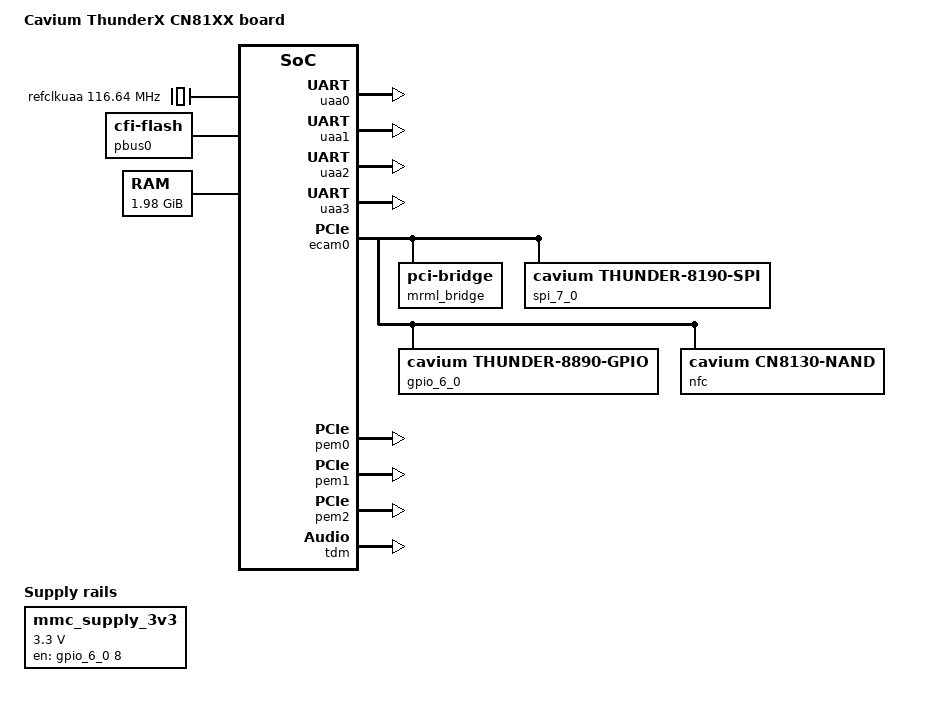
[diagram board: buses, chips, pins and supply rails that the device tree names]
/*
 * Cavium Thunder DTS file - Thunder SoC description
 *
 * Copyright (C) 2016, Cavium Inc.
 *
 * This file is dual-licensed: you can use it either under the terms
 * of the GPL or the X11 license, at your option. Note that this dual
 * licensing only applies to this file, and not this project as a
 * whole.
 *
 * a) This program is free software; you can redistribute it and/or modify
 *    it under the terms of the GNU General Public License as published by
 *    the Free Software Foundation; version 2 of the License.
 *
 *    This program is distributed in the hope that it will be useful,
 *    but WITHOUT ANY WARRANTY; without even the implied warranty of
 *    MERCHANTABILITY or FITNESS FOR A PARTICULAR PURPOSE.  See the
 *    GNU General Public License for more details.
 *
 * Or, alternatively,
 *
 *  b) Permission is hereby granted, free of charge, to any person
 *     obtaining a copy of this software and associated documentation
 *     files (the "Software"), to deal in the Software without
 *     restriction, including without limitation the rights to use,
 *     copy, modify, merge, publish, distribute, sublicense, and/or
 *     sell copies of the Software, and to permit persons to whom the
 *     Software is furnished to do so, subject to the following
 *     conditions:
 *
 *     The above copyright notice and this permission notice shall be
 *     included in all copies or substantial portions of the Software.
 *
 *     THE SOFTWARE IS PROVIDED "AS IS", WITHOUT WARRANTY OF ANY KIND,
 *     EXPRESS OR IMPLIED, INCLUDING BUT NOT LIMITED TO THE WARRANTIES
 *     OF MERCHANTABILITY, FITNESS FOR A PARTICULAR PURPOSE AND
 *     NONINFRINGEMENT. IN NO EVENT SHALL THE AUTHORS OR COPYRIGHT
 *     HOLDERS BE LIABLE FOR ANY CLAIM, DAMAGES OR OTHER LIABILITY,
 *     WHETHER IN AN ACTION OF CONTRACT, TORT OR OTHERWISE, ARISING
 *     FROM, OUT OF OR IN CONNECTION WITH THE SOFTWARE OR THE USE OR
 *     OTHER DEALINGS IN THE SOFTWARE.
 */

/ {
	model = "Cavium ThunderX CN81XX board";
	compatible = "cavium,thunder-81xx";
	interrupt-parent = <&gic0>;
	#address-cells = <2>;
	#size-cells = <2>;

	psci {
		compatible = "arm,psci-0.2";
		method = "smc";
	};

	cpus {
		#address-cells = <2>;
		#size-cells = <0>;

		cpu-map {
			cluster0 {
				core0 {
					cpu = <&CPU0>;
				};
				core1 {
					cpu = <&CPU1>;
				};
				core2 {
					cpu = <&CPU2>;
				};
				core3 {
					cpu = <&CPU3>;
				};
			};
		};

		CPU0: cpu@0 {
			device_type = "cpu";
			compatible = "cavium,thunder", "arm,armv8";
			reg = <0x0 0x000>;
			enable-method = "psci";
			/* socket 0 */
			numa-node-id = <0>;
			next-level-cache = <&thunderx_L2_0>;
		};
		CPU1: cpu@1 {
			device_type = "cpu";
			compatible = "cavium,thunder", "arm,armv8";
			reg = <0x0 0x001>;
			enable-method = "psci";
			numa-node-id = <0>;
			next-level-cache = <&thunderx_L2_0>;
		};
		CPU2: cpu@2 {
			device_type = "cpu";
			compatible = "cavium,thunder", "arm,armv8";
			reg = <0x0 0x002>;
			enable-method = "psci";
			numa-node-id = <0>;
			next-level-cache = <&thunderx_L2_0>;
		};
		CPU3: cpu@3 {
			device_type = "cpu";
			compatible = "cavium,thunder", "arm,armv8";
			reg = <0x0 0x003>;
			enable-method = "psci";
			numa-node-id = <0>;
			next-level-cache = <&thunderx_L2_0>;
		};
	};

	thunderx_L2_0: l2-cache0 {
		compatible = "cache";
		numa-node-id = <0>;
	};

	timer {
		compatible = "arm,armv8-timer";
		interrupts = <1 13 4>,
			     <1 14 4>,
			     <1 11 4>,
			     <1 10 4>;
	};

	pmu {
		compatible = "cavium,thunder-pmu", "arm,armv8-pmuv3";
		interrupts = <1 7 4>;
	};

	mmc_supply_3v3: mmc_supply_3v3 {
		compatible = "regulator-fixed";
		regulator-name = "mmc_supply_3v3";
		regulator-min-microvolt = <3300000>;
		regulator-max-microvolt = <3300000>;

		gpio = <&gpio_6_0 8 0>;
		enable-active-high;
	};

	gic0: interrupt-controller@801000000000 {
		compatible = "arm,gic-v3";
		#interrupt-cells = <3>;
		#address-cells = <2>;
		#size-cells = <2>;
		#redistributor-regions = <1>;
		ranges;
		interrupt-controller;
		reg = <0x8010 0x00000000 0x0 0x010000>, /* GICD */
		      <0x8010 0x80000000 0x0 0x600000>; /* GICR */
		interrupts = <1 9 4>;

		its: gic-its@801000020000 {
			compatible = "arm,gic-v3-its";
			reg = <0x8010 0x20000 0x0 0x200000>;
			msi-controller;
			numa-node-id = <0>;
		};
	};

	soc@0 {
		compatible = "simple-bus";
		#address-cells = <2>;
		#size-cells = <2>;
		ranges;
		numa-node-id = <0>;

		refclkuaa: refclkuaa {
			compatible = "fixed-clock";
			#clock-cells = <0>;
			clock-frequency = <116640000>;
			clock-output-names = "refclkuaa";
		};

		sclk: sclk {
			compatible = "fixed-clock";
			#clock-cells = <0>;
			clock-frequency = <800000000>;
			clock-output-names = "sclk";
		};

		uaa0: serial@87e028000000 {
			compatible = "arm,pl011", "arm,primecell";
			reg = <0x87e0 0x28000000 0x0 0x1000>;
			interrupts = <0 5 4>;
			clocks = <&refclkuaa>;
			clock-names = "apb_pclk";
			skip-init;
		};

		uaa1: serial@87e029000000 {
			compatible = "arm,pl011", "arm,primecell";
			reg = <0x87e0 0x29000000 0x0 0x1000>;
			interrupts = <0 6 4>;
			clocks = <&refclkuaa>;
			clock-names = "apb_pclk";
			skip-init;
		};

		uaa2: serial@87e02a000000 {
			compatible = "arm,pl011", "arm,primecell";
			reg = <0x87e0 0x2a000000 0x0 0x1000>;
			interrupts = <0 7 4>;
			clocks = <&refclkuaa>;
			clock-names = "apb_pclk";
			skip-init;
		};

		uaa3: serial@87e02b000000 {
			compatible = "arm,pl011", "arm,primecell";
			reg = <0x87e0 0x2b000000 0x0 0x1000>;
			interrupts = <0 8 4>;
			clocks = <&refclkuaa>;
			clock-names = "apb_pclk";
			skip-init;
		};

		watch-dog@8440000a0000 {
			compatible = "arm,sbsa-gwdt";
			reg = <0x8440 0xa0000 0x0 0x1000>, <0x8440 0xb0000 0x0 0x1000>;
			interrupts = <0 9 4>;
		};

		pbus0: nor@0 {
			compatible = "cfi-flash";
			reg = <0x8000 0x0 0x0 0x800000>;
			device-width = <1>;
			bank-width = <1>;
			clocks = <&sclk>;
		};

		smmu0@830000000000 {
			compatible = "cavium,smmu-v2";
			reg = <0x8300 0x0 0x0 0x2000000>;
			#global-interrupts = <1>;
			interrupts = <0 68 4>, <0 69 4>, <0 69 4>, <0 69 4>, <0 69 4>, <0 69 4>,
				     <0 69 4>, <0 69 4>, <0 69 4>, <0 69 4>, <0 69 4>, <0 69 4>,
				     <0 69 4>, <0 69 4>, <0 69 4>, <0 69 4>, <0 69 4>, <0 69 4>,
				     <0 69 4>, <0 69 4>, <0 69 4>, <0 69 4>, <0 69 4>, <0 69 4>,
				     <0 69 4>, <0 69 4>, <0 69 4>, <0 69 4>, <0 69 4>, <0 69 4>,
				     <0 69 4>, <0 69 4>, <0 69 4>, <0 69 4>, <0 69 4>, <0 69 4>,
				     <0 69 4>, <0 69 4>, <0 69 4>, <0 69 4>, <0 69 4>, <0 69 4>,
				     <0 69 4>, <0 69 4>, <0 69 4>, <0 69 4>, <0 69 4>, <0 69 4>,
				     <0 69 4>, <0 69 4>, <0 69 4>, <0 69 4>, <0 69 4>, <0 69 4>,
				     <0 69 4>, <0 69 4>, <0 69 4>, <0 69 4>, <0 69 4>, <0 69 4>,
				     <0 69 4>, <0 69 4>, <0 69 4>, <0 69 4>, <0 69 4>;

			mmu-masters = <&ecam0 0x100>,
				      <&pem0  0x200>,
				      <&pem1  0x300>,
				      <&pem2  0x400>;

		};

		ecam0: pci@848000000000 {
			compatible = "pci-host-ecam-generic";
			device_type = "pci";
			msi-parent = <&its>;
			msi-map = <0 &its 0 0x10000>;
			bus-range = <0 31>;
			#size-cells = <2>;
			#address-cells = <3>;
			#stream-id-cells = <1>;
			u-boot,dm-pre-reloc;
			dma-coherent;
			reg = <0x8480 0x00000000 0 0x02000000>;	 /* Configuration space */
			ranges = <0x03000000 0x8010 0x00000000 0x8010 0x00000000 0x080 0x00000000>, /* mem ranges */
				 <0x03000000 0x8100 0x00000000 0x8100 0x00000000 0x80  0x00000000>, /* SATA */
				 <0x03000000 0x8680 0x00000000 0x8680 0x00000000 0x160 0x28000000>, /* UARTs */
				 <0x03000000 0x87e0 0x2c000000 0x87e0 0x2c000000 0x000 0x94000000>, /* PEMs */
				 <0x03000000 0x8400 0x00000000 0x8400 0x00000000 0x010 0x00000000>, /* RNM */
				 <0x03000000 0x8430 0x00000000 0x8430 0x00000000 0x02  0x00000000>, /* NIC0*/
				 <0x03000000 0x87e0 0xc6000000 0x87e0 0xc6000000 0x01f 0x3a000000>;

			mrml_bridge: mrml-bridge0@1,0 {
				compatible = "pci-bridge", "cavium,thunder-8890-mrml-bridge";
				#size-cells = <2>;
				#address-cells = <3>;
				ranges = <0x03000000 0x87e0 0x00000000 0x03000000 0x87e0 0x00000000 0x10 0x00000000>;
				reg = <0x0800 0 0 0 0>; /* DEVFN = 0x08 (1:0) */
				device_type = "pci";
				u-boot,dm-pre-reloc;

				mdio-nexus@1,3 {
					compatible = "cavium,thunder-8890-mdio-nexus";
					#address-cells = <2>;
					#size-cells = <2>;
					reg = <0x0b00 0 0 0 0>; /* DEVFN = 0x0b (1:3) */
					assigned-addresses = <0x03000000 0x87e0 0x05000000 0x0 0x800000>;
					ranges = <0x87e0 0x05000000 0x03000000 0x87e0 0x05000000 0x0 0x800000>;
					mdio0@87e005003800 {
						compatible = "cavium,thunder-8890-mdio";
						#address-cells = <1>;
						#size-cells = <0>;
						reg = <0x87e0 0x05003800 0x0 0x30>;
					};
					mdio1@87e005003880 {
						compatible = "cavium,thunder-8890-mdio";
						#address-cells = <1>;
						#size-cells = <0>;
						reg = <0x87e0 0x05003880 0x0 0x30>;
					};
				};

				mmc_1_4: mmc@1,4 {
					compatible = "cavium,thunder-8890-mmc";
					reg = <0x0c00 0 0 0 0>;	/* DEVFN = 0x0c (1:4) */
					#address-cells = <1>;
					#size-cells = <0>;
					clocks = <&sclk>;
				};

				i2c_9_0: i2c@9,0 {
					#address-cells = <1>;
					#size-cells = <0>;
					compatible = "cavium,thunder-8890-twsi";
					reg = <0x4800 0 0 0 0>; /*  DEVFN = 0x48 (9:0) */
					clock-frequency = <100000>;
					clocks = <&sclk>;
					u-boot,dm-pre-reloc;
				};

				i2c_9_1: i2c@9,1 {
					#address-cells = <1>;
					#size-cells = <0>;
					compatible = "cavium,thunder-8890-twsi";
					reg = <0x4900 0 0 0 0>; /*  DEVFN = 0x49 (9:1) */
					clock-frequency = <100000>;
					clocks = <&sclk>;
					u-boot,dm-pre-reloc;
				};

				rgx0 {
					#address-cells = <1>;
					#size-cells = <0>;
					compatible = "cavium,thunder-8890-bgx";
					reg = <0x9000 0 0 0 0>; /* DEVFN = 0x90 (16:1) */
				};
				bgx0 {
					#address-cells = <1>;
					#size-cells = <0>;
					compatible = "cavium,thunder-8890-bgx";
					reg = <0x8000 0 0 0 0>; /* DEVFN = 0x80 (16:0) */
				};
				bgx1 {
					#address-cells = <1>;
					#size-cells = <0>;
					compatible = "cavium,thunder-8890-bgx";
					reg = <0x8100 0 0 0 0>; /* DEVFN = 0x81 (16:1) */
				};
			};

			spi_7_0: spi@7,0 {
				compatible = "cavium,thunder-8190-spi";
				reg = <0x3800 0x0 0x0 0x0 0x0>; /*  DEVFN = 0x38 (7:0) */
				#address-cells = <1>;
				#size-cells = <0>;
				clocks = <&sclk>;
			};

			gpio_6_0: gpio0@6,0 {
				#gpio-cells = <2>;
				compatible = "cavium,thunder-8890-gpio";
				gpio-controller;
				reg = <0x3000 0 0 0 0>; /*  DEVFN = 0x30 (6:0) */
				u-boot,dm-pre-reloc;
			};

			nfc: nand@b,0 {
				#address-cells = <1>;
				#size-cells = <0>;
				compatible = "cavium,cn8130-nand";
				reg = <0x5800 0 0 0 0>; /* DEVFN = 0x58 (b:0) */
				clocks = <&sclk>;
			};
		};

		pem0: pci@87e0c0000000 {

			/* "cavium,pci-host-thunder-pem" implies that
			 the first bus in bus-range has config access
			 via the "PEM space", subsequent buses have
			 config assess via the "Configuration space".
			 The "mem64 PEM" range is used to map the PEM
			 BAR0, which is used by the AER and PME MSI-X
			 sources. UEFI and Linux must assign the same
			 bus number to each device, otherwise Linux
			 enumeration gets confused.  Because UEFI
			 skips the PEM bus and its PCIe-RC bridge it
			 uses a numbering that starts 1 bus higher.
			 */

			compatible = "cavium,pci-host-thunder-pem";
			device_type = "pci";
			msi-parent = <&its>;
			msi-map = <0 &its 0 0x10000>;
			bus-range = <0x1f 0x57>;
			#size-cells = <2>;
			#address-cells = <3>;
			#stream-id-cells = <1>;
			dma-coherent;
			reg = <0x8800 0x1f000000 0x0 0x39000000>,  /* Configuration space */
				<0x87e0 0xc0000000 0x0 0x01000000>; /* PEM space */
			ranges = <0x01000000 0x00 0x00000000 0x8830 0x00000000 0x00 0x00010000>, /* I/O */
				 <0x03000000 0x00 0x10000000 0x8810 0x10000000 0x0f 0xf0000000>, /* mem64 */
				 <0x43000000 0x10 0x00000000 0x8820 0x00000000 0x10 0x00000000>, /* mem64-pref */
				 <0x03000000 0x87e0 0xc0000000 0x87e0 0xc0000000 0x00 0x01000000>; /* mem64 PEM */

			#interrupt-cells = <1>;
			interrupt-map-mask = <0 0 0 7>;
			interrupt-map = <0 0 0 1 &gic0 0 0 0 16 4>, /* INTA */
					<0 0 0 2 &gic0 0 0 0 17 4>, /* INTB */
					<0 0 0 3 &gic0 0 0 0 18 4>, /* INTC */
					<0 0 0 4 &gic0 0 0 0 19 4>; /* INTD */
		};

		pem1: pci@87e0c1000000 {
			compatible = "cavium,pci-host-thunder-pem";
			device_type = "pci";
			msi-parent = <&its>;
			msi-map = <0 &its 0 0x10000>;
			bus-range = <0x57 0x8f>;
			#size-cells = <2>;
			#address-cells = <3>;
			#stream-id-cells = <1>;
			dma-coherent;
			reg = <0x8840 0x57000000 0x0 0x39000000>,  /* Configuration space */
				<0x87e0 0xc1000000 0x0 0x01000000>; /* PEM space */
			ranges = <0x01000000 0x00 0x00010000 0x8870 0x00010000 0x00 0x00010000>, /* I/O */
				 <0x03000000 0x00 0x10000000 0x8850 0x10000000 0x0f 0xf0000000>, /* mem64 */
				 <0x43000000 0x10 0x00000000 0x8860 0x00000000 0x10 0x00000000>, /* mem64-pref */
				 <0x03000000 0x87e0 0xc1000000 0x87e0 0xc1000000 0x00 0x01000000>; /* mem64 PEM */

			#interrupt-cells = <1>;
			interrupt-map-mask = <0 0 0 7>;
			interrupt-map = <0 0 0 1 &gic0 0 0 0 20 4>, /* INTA */
					<0 0 0 2 &gic0 0 0 0 21 4>, /* INTB */
					<0 0 0 3 &gic0 0 0 0 22 4>, /* INTC */
					<0 0 0 4 &gic0 0 0 0 23 4>; /* INTD */
		};

		pem2: pci@87e0c2000000 {
			compatible = "cavium,pci-host-thunder-pem";
			device_type = "pci";
			msi-parent = <&its>;
			msi-map = <0 &its 0 0x10000>;
			bus-range = <0x8f 0xc7>;
			#size-cells = <2>;
			#address-cells = <3>;
			#stream-id-cells = <1>;
			dma-coherent;
			reg = <0x8880 0x8f000000 0x0 0x39000000>,  /* Configuration space */
				<0x87e0 0xc2000000 0x0 0x01000000>; /* PEM space */
			ranges = <0x01000000 0x00 0x00020000 0x88b0 0x00020000 0x00 0x00010000>, /* I/O */
				 <0x03000000 0x00 0x10000000 0x8890 0x10000000 0x0f 0xf0000000>, /* mem64 */
				 <0x43000000 0x10 0x00000000 0x88a0 0x00000000 0x10 0x00000000>, /* mem64-pref */
				 <0x03000000 0x87e0 0xc2000000 0x87e0 0xc2000000 0x00 0x01000000>; /* mem64 PEM */

			#interrupt-cells = <1>;
			interrupt-map-mask = <0 0 0 7>;
			interrupt-map = <0 0 0 1 &gic0 0 0 0 24 4>, /* INTA */
					<0 0 0 2 &gic0 0 0 0 25 4>, /* INTB */
					<0 0 0 3 &gic0 0 0 0 26 4>, /* INTC */
					<0 0 0 4 &gic0 0 0 0 27 4>; /* INTD */
		};

		tdm: tdm@d,0 {
			#address-cells = <1>;
			#size-cells = <0>;
			compatible = "cavium,thunder-8190-tdm";
			reg = <0x6800 0 0 0>; /*  DEVFN = 0x68 (d:0) */
			clocks = <&sclk>;
		};
	};

	aliases {
		serial0 = &uaa0;
		serial1 = &uaa1;
		serial2 = &uaa2;
		serial3 = &uaa3;
		i2c0 = &i2c_9_0;
		i2c1 = &i2c_9_1;
		spi0 = &spi_7_0;
	};

	chosen {
		stdout-path = "serial0:115200n8";
	};


	memory@0 {
		device_type = "memory";
		reg = <0x0 0x01400000 0x0 0x7EC00000>;
		/* socket 0 */
		numa-node-id = <0>;
	};
};
